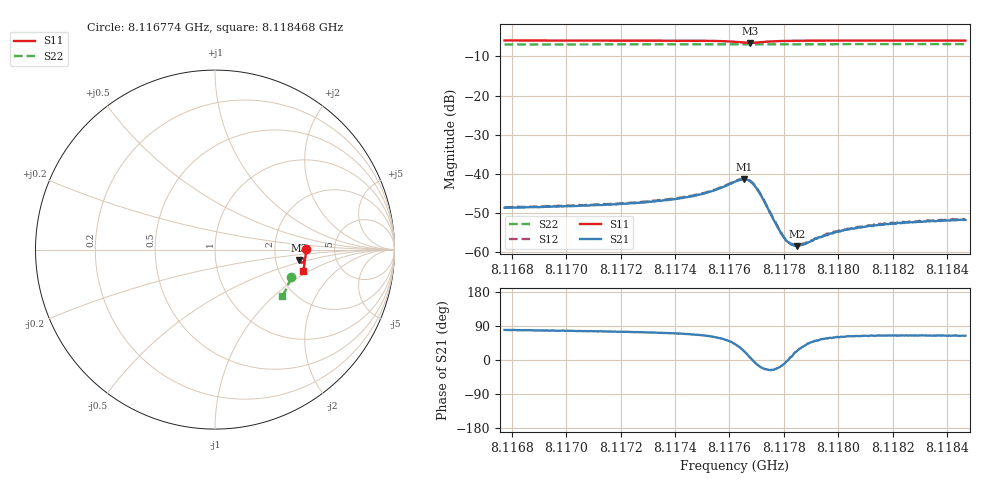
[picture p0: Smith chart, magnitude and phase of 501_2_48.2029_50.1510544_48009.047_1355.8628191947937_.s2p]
#  HZ  S  RI  R  50.00
! Rohde & Schwarz Vector Network Analyzer
! Rohde-Schwarz,ZNB20-2Port,1311601062101988,3.16
! Created: UTC 3/20/2024, 11:58:34 AM
! freq[Hz]  re:S11  im:S11  re:S21  im:S21  re:S12  im:S12  re:S22  im:S22
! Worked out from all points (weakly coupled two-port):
!   401 points, 8.116774 GHz to 8.118468 GHz, reference 50 ohm
!   highest |S21| = -41.35 dB at 8.117654 GHz (marker M1); lowest = -58.4 dB at 8.117849 GHz (marker M2)
!   lowest |S11| = -6.5 dB at 8.117676 GHz (marker M3), VSWR 2.79, Z = 136 - j20.4 ohm
!   |S11| at or under -10 dB: nowhere
!   |S22| runs from -6.9 to -6.8 dB; largest |S21 - S12| = 0.00022
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8.1167737e9  0.5068 0.00136  0.000681 0.00362  0.000716 0.0037  0.4239 -0.1534
8.1170574e9  0.5058 -0.0207  0.00093 0.00381  0.001 0.00387  0.4173 -0.172
8.1173411e9  0.5031 -0.0444  0.00141 0.0043  0.00153 0.00439  0.4102 -0.1906
8.1174216e9  0.5015 -0.0518  0.00172 0.0046  0.00178 0.00463  0.4079 -0.1958
8.1175063e9  0.4983 -0.0609  0.00237 0.00508  0.0025 0.00515  0.4055 -0.2014
8.1175529e9  0.4945 -0.0665  0.0032 0.00548  0.0033 0.00549  0.4039 -0.2043
8.1176206e9  0.4815 -0.0728  0.00593 0.00532  0.00607 0.00538  0.4013 -0.2086
8.1176545e9  0.4709 -0.0677  0.00788 0.00334  0.00804 0.00334  0.4 -0.2102
8.1176757e9  0.4684 -0.0584  0.00801 0.000983  0.0082 0.000944  0.3994 -0.2111
8.1176926e9  0.4714 -0.0513  0.00706 -0.000717  0.00719 -0.000747  0.3991 -0.2119
8.1177095e9  0.4774 -0.0473  0.00559 -0.00158  0.0057 -0.00168  0.3988 -0.2128
8.1177815e9  0.4945 -0.0542  0.00186 -0.000676  0.00186 -0.000683  0.3975 -0.2176
8.1178027e9  0.4963 -0.0575  0.00149 -0.000251  0.0015 -0.000259  0.3969 -0.219
8.1178239e9  0.4975 -0.0605  0.00127 0.000165  0.0013 9.46e-05  0.3962 -0.2203
8.1178493e9  0.4981 -0.064  0.00109 0.000496  0.00115 0.000505  0.3954 -0.2221
8.1178789e9  0.4986 -0.0677  0.000995 0.000795  0.00103 0.000806  0.3946 -0.224
8.1179043e9  0.4988 -0.0704  0.000934 0.00104  0.000972 0.00102  0.3937 -0.2256
8.1179552e9  0.4988 -0.0757  0.000886 0.00139  0.000955 0.00142  0.3922 -0.2289
8.1180229e9  0.4983 -0.0821  0.000939 0.0017  0.000918 0.00172  0.3899 -0.233
8.1181076e9  0.497 -0.0893  0.00095 0.00196  0.000984 0.00194  0.3869 -0.2382
8.1181881e9  0.4958 -0.0959  0.00098 0.00209  0.001 0.00209  0.3841 -0.2433
8.1184675e9  0.4913 -0.1174  0.00113 0.00232  0.00119 0.00239  0.3741 -0.26
